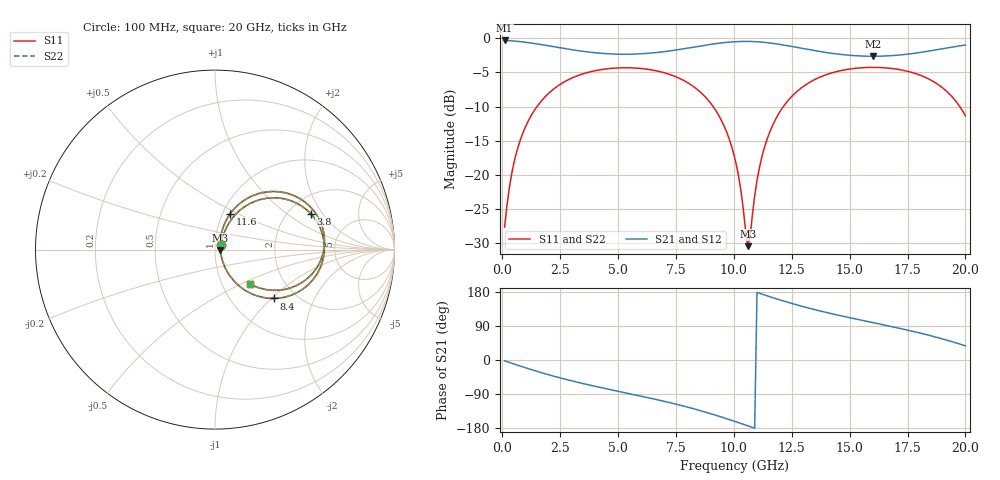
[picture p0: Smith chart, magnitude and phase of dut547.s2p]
! Touchstone file exported from HFSS 2026.1.0
!  File:  C:/ffzhzh/LocalFiles/Ansys_Project_Files/temp_train_TSV_RDL_547_1783114526_53076.aedt
!  Generated:  05:48:39 AM Jul  4, 2026
!  Design:  TSV_RDL
!  Project:  temp_train_TSV_RDL_547_1783114526_53076
! Variables:
!  h_bsmrdl = 4.46um
!  h_ox = 20um
!  h_rdl = 5um
!  h_sub = 72.45um
!  h_tmrdl = 2.67um
!  h_tsv = 72.45um
!  h_via = 3um
!  l_bsmrdl = 405.15um
!  l_sub = 5555.53um
!  l_tmrdl = 951.27um
!  m_sub = 200um
!  pitch = 55.62um
!  r_tsv = 8.15um
!  s_tmrdl = 10um
!  w_bsmrdl = 27.93um
!  w_sub = 500um
!  w_tmrdl = 17.07um
!  x_tsv_center1 = 959.805um
!  x_tsv_center2 = 1392.885um
!  x_tsv_center3 = 2361.225um
!  x_tsv_center4 = 2794.305um
!  x_tsv_center5 = 3762.645um
!  x_tsv_center6 = 4195.725um
# GHz S MA R 50.000000
! Terminal data exported
! Port[1] = TM_RDL1_1_T1
! Port[2] = TM_RDL5_1_T1
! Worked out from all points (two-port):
!   200 points, 100 MHz to 20 GHz, reference 50 ohm
!   highest |S21| = -0.30 dB at 100 MHz (marker M1); lowest = -2.6 dB at 16 GHz (marker M2)
!   |S21| within 3 dB of the highest: start of sweep to end of sweep
!   lowest |S11| = -30.5 dB at 10.6 GHz (marker M3), VSWR 1.06, Z = 53.1 - j0.182 ohm
!   |S11| at or under -10 dB: start of sweep to 1.498 GHz; 9.105 GHz to 12.14 GHz (3.035 GHz wide, 28.6 % of centre); 19.76 GHz to end of sweep
!   |S22| runs from -30.4 to -4.2 dB; largest |S21 - S12| = 1.7e-14
!   S11 on the Smith chart (normalised r, x): 100 MHz: 1.07, +0.05; 3.8 GHz: 2.61, +1.55; 8.4 GHz: 1.55, -1.03; 11.6 GHz: 1.08, +0.45; 20 GHz: 1.35, -0.55
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0.1  0.04128 33.9  0.9663 -2.2  0.9663 -2.2  0.04128 33.9
! Gamma 0 0 0 0
! Port Impedance 50 0 50 0
0.3  0.07945 57.5  0.9625 -6.4  0.9625 -6.4  0.07945 57.5
0.5  0.1217 62.1  0.9569 -10.5  0.9569 -10.5  0.1217 62.1
1.1  0.2438 58.7  0.9326 -22.4  0.9326 -22.4  0.2438 58.7
2.1  0.4096 44.4  0.8766 -40.6  0.8766 -40.6  0.4096 44.4
3.5  0.5509 24.6  0.8032 -62.4  0.8032 -62.4  0.5509 24.6
3.8  0.5691 20.7  0.7918 -66.6  0.7918 -66.6  0.5691 20.7
5.3  0.6093 1.9  0.7655 -86.4  0.7655 -86.4  0.6093 1.9
6.8  0.5712 -17.0  0.7928 -106.3  0.7928 -106.3  0.5712 -17.0
8.4  0.4251 -39.8  0.8709 -130.9  0.8709 -130.9  0.4251 -39.8
9.4  0.2625 -55.0  0.9242 -149.2  0.9242 -149.2  0.2625 -55.0
10.1  0.1198 -60.8  0.9472 -163.2  0.9472 -163.2  0.1198 -60.8
10.3  0.07761 -56.7  0.9502 -167.3  0.9502 -167.3  0.07763 -56.6
10.6  0.02987 -3.3  0.951 -173.6  0.951 -173.6  0.03007 -3.1
11.1  0.1117 69.4  0.9428 176.1  0.9428 176.1  0.1118 69.3
11.6  0.2154 67.1  0.9239 166.1  0.9239 166.1  0.2155 67.1
12.4  0.3595 55.7  0.8796 151.0  0.8796 151.0  0.3596 55.7
13.4  0.4898 40.9  0.819 134.3  0.819 134.3  0.4899 40.8
16  0.6132 7.8  0.7399 98.7  0.7399 98.7  0.6133 7.7
16.7  0.6051 -0.6  0.7456 89.7  0.7456 89.7  0.6051 -0.7
18.7  0.4732 -26.7  0.8227 60.8  0.8227 60.8  0.4733 -26.8
20  0.2707 -44.5  0.8947 37.4  0.8947 37.4  0.2706 -44.7
